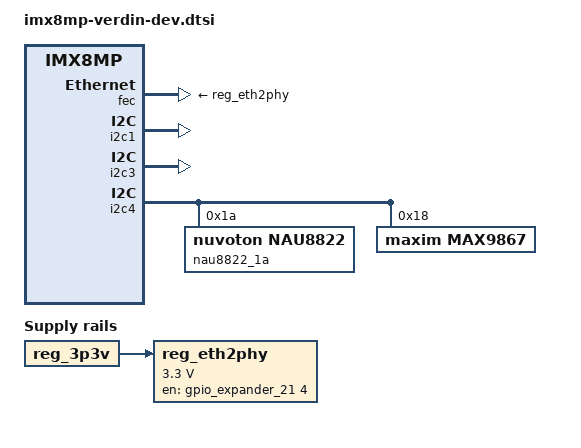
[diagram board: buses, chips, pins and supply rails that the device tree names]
// SPDX-License-Identifier: GPL-2.0+ OR MIT
/*
 * Copyright 2020 Toradex
 */

#include "imx8mp-verdin-dahlia.dtsi"

/ {
	reg_eth2phy: regulator-eth2phy {
		compatible = "regulator-fixed";
		enable-active-high;
		gpio = <&gpio_expander_21 4 GPIO_ACTIVE_HIGH>; /* ETH_PWR_EN */
		off-on-delay = <500000>;
		regulator-max-microvolt = <3300000>;
		regulator-min-microvolt = <3300000>;
		regulator-name = "+V3.3_ETH";
		startup-delay-us = <200000>;
		vin-supply = <&reg_3p3v>;
	};

 	sound_card: sound-card {
                compatible = "simple-audio-card";
                simple-audio-card,bitclock-master = <&dailink_master>;
                simple-audio-card,format = "i2s";
                simple-audio-card,frame-master = <&dailink_master>;
                simple-audio-card,name = "max9857";
                status = "okay";
                dailink_master: simple-audio-card,cpu {
                        sound-dai = <&sai1>;
                        /*system-clock-frequency = <&sound_osc 0>;*/
                        /*dai-tdm-slot-num = <2>;
                        dai-tdm-slot-width = <16>;*/
                        clocks = <&audiomix_clk IMX8MP_CLK_AUDIOMIX_SAI1_MCLK1>;
                };

                simple-audio-card,codec{
                        sound-dai = <&max9867>;
                };

        };

};

&fec {
	phy-supply = <&reg_eth2phy>;
	status = "okay";
};

&gpio_expander_21 {
	status = "okay";
	vcc-supply = <&reg_1p8v>;
};

/* Verdin I2C_1 */
&i2c1 {
	status = "okay";
	
};

&i2c3 {
	status = "okay";

};

&i2c4 {
	/* Audio Codec */
	nau8822_1a: codec-nau@1a {
		compatible = "nuvoton,nau8822";
		#sound-dai-cells = <0>;
		reg = <0x1a>;
	};

	max9867: max9867@18 {
		compatible = "maxim,max9867";
		#sound-dai-cells = <0>;
		clocks = <&audiomix_clk IMX8MP_CLK_AUDIOMIX_SAI1_MCLK1>;
		clock-names = "mclk";
		reg = <0x18>;
	};
};

/* Limit frequency on dev board due to long traces and bad signal integrity */
&usdhc2 {
	max-frequency = <100000000>;
};

&wm8904_1a {
	status = "disabled";
};
